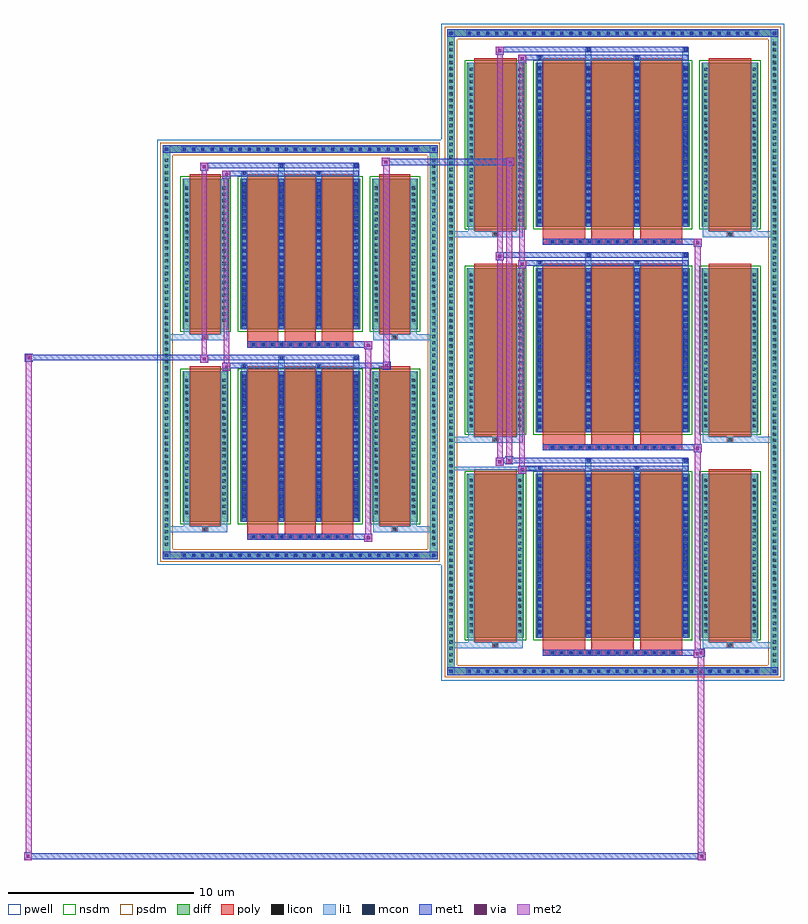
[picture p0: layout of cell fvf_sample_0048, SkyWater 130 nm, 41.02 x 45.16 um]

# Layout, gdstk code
import gdstk
lib = gdstk.Library(unit=1e-6, precision=1e-09)
def R(c, l, rs):  # rectangles x0, y0, x1, y1
    for r in rs: c.add(gdstk.rectangle(r[:2], r[2:], *l))
def A(c, l, x, y, w, h, nx, ny, dx, dy):  # array of equal rectangles
    R(c, l, [(x+i*dx, y+j*dy, x+i*dx+w, y+j*dy+h) for i in range(nx) for j in range(ny)])
def P(c, l, *ps):  # polygons
    for p in ps: c.add(gdstk.Polygon(p, *l))
pwell = (64, 44)
diff = (65, 20)
poly = (66, 20)
licon = (66, 44)
li1 = (67, 20)
mcon = (67, 44)
met1 = (68, 20)
via = (68, 44)
met2 = (69, 20)
nsdm = (93, 44)
psdm = (94, 20)

fvf_sample_0048 = lib.new_cell('fvf_sample_0048')
R(fvf_sample_0048, pwell, [(7.625,-17.735,26.115,17.735), (-7.725,-11.477,7.725,11.477)])
A(fvf_sample_0048, diff, 8.915, -17.425, 0.41, 0.41, 32, 2, 0.5, 34.44)
A(fvf_sample_0048, diff, 7.935, -16.865, 0.41, 0.41, 1, 99, 0, 0.34)
A(fvf_sample_0048, diff, 25.395, -16.865, 0.41, 0.41, 1, 99, 0, 0.34)
A(fvf_sample_0048, diff, 9.005, -15.403, 3.07, 8.844, 1, 3, 0, 11.089)
A(fvf_sample_0048, diff, 12.715, -15.403, 8.31, 8.844, 1, 3, 0, 11.089)
A(fvf_sample_0048, diff, 21.665, -15.403, 3.07, 8.844, 1, 3, 0, 11.089)
A(fvf_sample_0048, diff, -6.455, -11.167, 0.41, 0.41, 26, 2, 0.5, 21.924)
A(fvf_sample_0048, diff, -7.415, -10.575, 0.41, 0.41, 1, 62, 0, 0.34)
A(fvf_sample_0048, diff, 7.005, -10.575, 0.41, 0.41, 1, 62, 0, 0.34)
R(fvf_sample_0048, diff, [(8.915,-17.425,24.825,-17.015), (7.935,-16.865,8.345,16.865), (25.395,-16.865,25.805,16.865), (-6.455,-11.167,6.455,-10.757), (-7.415,-10.575,-7.005,10.575), (7.005,-10.575,7.415,10.575), (-6.345,-9.146,-3.883,-1.014), (-3.243,-9.146,3.243,-1.014), (3.883,-9.146,6.345,-1.014), (-6.345,1.23,-3.883,9.362), (-3.243,1.23,3.243,9.362), (3.883,1.23,6.345,9.362), (-6.455,10.757,6.455,11.167), (8.915,17.015,24.825,17.425)])
P(fvf_sample_0048, diff, [(7.415,11.167),(-7.415,11.167),(-7.415,-10.757),(-7.005,-10.757),(-7.005,10.757),(7.005,10.757),(7.005,-10.757),(-7.005,-10.757),(-7.415,-10.757),(-7.415,-11.167),(7.415,-11.167)],
  [(25.805,17.425),(7.935,17.425),(7.935,-17.015),(8.345,-17.015),(8.345,17.015),(25.395,17.015),(25.395,-17.015),(8.345,-17.015),(7.935,-17.015),(7.935,-17.425),(25.805,-17.425)])
A(fvf_sample_0048, poly, 13.105, -16.383, 7.53, 0.33, 1, 3, 0, 11.089)
A(fvf_sample_0048, poly, 13.455, -16.383, 0.33, 0.33, 14, 3, 0.5, 11.089)
A(fvf_sample_0048, poly, 13.105, -16.053, 2.29, 0.4, 3, 3, 2.62, 11.089)
A(fvf_sample_0048, poly, 9.395, -15.653, 2.29, 9.344, 1, 3, 0, 11.089)
A(fvf_sample_0048, poly, 13.105, -15.653, 2.29, 9.344, 3, 3, 2.62, 11.089)
A(fvf_sample_0048, poly, 22.055, -15.653, 2.29, 9.344, 1, 3, 0, 11.089)
A(fvf_sample_0048, poly, -2.665, -10.126, 0.33, 0.33, 11, 2, 0.5, 10.376)
A(fvf_sample_0048, poly, -2.853, -9.796, 1.682, 0.4, 3, 2, 2.012, 10.376)
A(fvf_sample_0048, poly, -2.853, -9.396, 1.682, 8.632, 3, 2, 2.012, 10.376)
R(fvf_sample_0048, poly, [(10.375,-15.983,10.705,-15.653), (10.375,-15.983,10.705,-15.653), (23.035,-15.983,23.365,-15.653), (23.035,-15.983,23.365,-15.653), (-2.853,-10.126,2.853,-9.796), (-5.279,-9.726,-4.949,-9.396), (-5.279,-9.726,-4.949,-9.396), (4.949,-9.726,5.279,-9.396), (4.949,-9.726,5.279,-9.396), (-5.955,-9.396,-4.273,-0.764), (4.273,-9.396,5.955,-0.764), (10.375,-4.894,10.705,-4.564), (10.375,-4.894,10.705,-4.564), (23.035,-4.894,23.365,-4.564), (23.035,-4.894,23.365,-4.564), (-2.853,0.25,2.853,0.58), (-5.279,0.65,-4.949,0.98), (-5.279,0.65,-4.949,0.98), (4.949,0.65,5.279,0.98), (4.949,0.65,5.279,0.98), (-5.955,0.98,-4.273,9.612), (4.273,0.98,5.955,9.612), (10.375,6.195,10.705,6.525), (10.375,6.195,10.705,6.525), (23.035,6.195,23.365,6.525), (23.035,6.195,23.365,6.525)])
A(fvf_sample_0048, licon, 9.035, -17.305, 0.17, 0.17, 32, 2, 0.5, 34.44)
A(fvf_sample_0048, licon, 8.055, -16.745, 0.17, 0.17, 1, 99, 0, 0.34)
A(fvf_sample_0048, licon, 25.515, -16.745, 0.17, 0.17, 1, 99, 0, 0.34)
A(fvf_sample_0048, licon, 13.535, -16.303, 0.17, 0.17, 14, 3, 0.5, 11.089)
A(fvf_sample_0048, licon, 10.455, -15.903, 0.17, 0.17, 1, 3, 0, 11.089)
A(fvf_sample_0048, licon, 23.115, -15.903, 0.17, 0.17, 1, 3, 0, 11.089)
A(fvf_sample_0048, licon, 9.145, -15.146, 0.17, 0.17, 1, 25, 0, 0.34)
A(fvf_sample_0048, licon, 11.765, -15.146, 0.17, 0.17, 1, 25, 0, 0.34)
A(fvf_sample_0048, licon, 12.855, -15.146, 0.17, 0.17, 4, 25, 2.62, 0.34)
A(fvf_sample_0048, licon, 21.805, -15.146, 0.17, 0.17, 1, 25, 0, 0.34)
A(fvf_sample_0048, licon, 24.425, -15.146, 0.17, 0.17, 1, 25, 0, 0.34)
A(fvf_sample_0048, licon, -6.335, -11.047, 0.17, 0.17, 26, 2, 0.5, 21.924)
A(fvf_sample_0048, licon, -7.295, -10.455, 0.17, 0.17, 1, 62, 0, 0.34)
A(fvf_sample_0048, licon, 7.125, -10.455, 0.17, 0.17, 1, 62, 0, 0.34)
A(fvf_sample_0048, licon, -2.585, -10.046, 0.17, 0.17, 11, 2, 0.5, 10.376)
A(fvf_sample_0048, licon, -6.205, -8.735, 0.17, 0.17, 1, 22, 0, 0.34)
A(fvf_sample_0048, licon, -4.193, -8.735, 0.17, 0.17, 1, 22, 0, 0.34)
A(fvf_sample_0048, licon, -3.103, -8.735, 0.17, 0.17, 4, 22, 2.012, 0.34)
A(fvf_sample_0048, licon, 4.023, -8.735, 0.17, 0.17, 1, 22, 0, 0.34)
A(fvf_sample_0048, licon, 6.035, -8.735, 0.17, 0.17, 1, 22, 0, 0.34)
A(fvf_sample_0048, licon, 9.145, -4.057, 0.17, 0.17, 1, 25, 0, 0.34)
A(fvf_sample_0048, licon, 11.765, -4.057, 0.17, 0.17, 1, 25, 0, 0.34)
A(fvf_sample_0048, licon, 12.855, -4.057, 0.17, 0.17, 4, 25, 2.62, 0.34)
A(fvf_sample_0048, licon, 21.805, -4.057, 0.17, 0.17, 1, 25, 0, 0.34)
A(fvf_sample_0048, licon, 24.425, -4.057, 0.17, 0.17, 1, 25, 0, 0.34)
A(fvf_sample_0048, licon, -6.205, 1.641, 0.17, 0.17, 1, 22, 0, 0.34)
A(fvf_sample_0048, licon, -4.193, 1.641, 0.17, 0.17, 1, 22, 0, 0.34)
A(fvf_sample_0048, licon, -3.103, 1.641, 0.17, 0.17, 4, 22, 2.012, 0.34)
A(fvf_sample_0048, licon, 4.023, 1.641, 0.17, 0.17, 1, 22, 0, 0.34)
A(fvf_sample_0048, licon, 6.035, 1.641, 0.17, 0.17, 1, 22, 0, 0.34)
A(fvf_sample_0048, licon, 9.145, 7.032, 0.17, 0.17, 1, 25, 0, 0.34)
A(fvf_sample_0048, licon, 11.765, 7.032, 0.17, 0.17, 1, 25, 0, 0.34)
A(fvf_sample_0048, licon, 12.855, 7.032, 0.17, 0.17, 4, 25, 2.62, 0.34)
A(fvf_sample_0048, licon, 21.805, 7.032, 0.17, 0.17, 1, 25, 0, 0.34)
A(fvf_sample_0048, licon, 24.425, 7.032, 0.17, 0.17, 1, 25, 0, 0.34)
R(fvf_sample_0048, licon, [(-5.199,-9.646,-5.029,-9.476), (5.029,-9.646,5.199,-9.476), (-5.199,0.73,-5.029,0.9), (5.029,0.73,5.199,0.9)])
A(fvf_sample_0048, li1, 8.955, -17.385, 0.33, 0.33, 32, 2, 0.5, 34.44)
A(fvf_sample_0048, li1, 7.975, -16.825, 0.33, 0.33, 1, 99, 0, 0.34)
A(fvf_sample_0048, li1, 25.435, -16.825, 0.33, 0.33, 1, 99, 0, 0.34)
A(fvf_sample_0048, li1, 13.455, -16.383, 0.33, 0.33, 14, 3, 0.5, 11.089)
A(fvf_sample_0048, li1, 7.935, -15.983, 2.44, 0.33, 1, 3, 0, 11.089)
A(fvf_sample_0048, li1, 9.065, -15.983, 0.33, 0.58, 1, 3, 0, 11.089)
A(fvf_sample_0048, li1, 9.065, -15.983, 1.31, 0.33, 1, 3, 0, 11.089)
A(fvf_sample_0048, li1, 10.375, -15.983, 0.33, 0.33, 1, 3, 0, 11.089)
A(fvf_sample_0048, li1, 10.705, -15.983, 1.31, 0.33, 1, 3, 0, 11.089)
A(fvf_sample_0048, li1, 11.685, -15.983, 0.33, 0.58, 1, 3, 0, 11.089)
A(fvf_sample_0048, li1, 21.725, -15.983, 0.33, 0.58, 1, 3, 0, 11.089)
A(fvf_sample_0048, li1, 21.725, -15.983, 1.31, 0.33, 1, 3, 0, 11.089)
A(fvf_sample_0048, li1, 23.035, -15.983, 0.33, 0.33, 1, 3, 0, 11.089)
A(fvf_sample_0048, li1, 23.035, -15.983, 2.77, 0.33, 1, 3, 0, 11.089)
A(fvf_sample_0048, li1, 23.365, -15.983, 1.31, 0.33, 1, 3, 0, 11.089)
A(fvf_sample_0048, li1, 24.345, -15.983, 0.33, 0.58, 1, 3, 0, 11.089)
A(fvf_sample_0048, li1, 9.065, -15.403, 0.33, 8.844, 1, 3, 0, 11.089)
A(fvf_sample_0048, li1, 11.685, -15.403, 0.33, 8.844, 1, 3, 0, 11.089)
A(fvf_sample_0048, li1, 12.775, -15.403, 0.33, 8.844, 4, 3, 2.62, 11.089)
A(fvf_sample_0048, li1, 21.725, -15.403, 0.33, 8.844, 1, 3, 0, 11.089)
A(fvf_sample_0048, li1, 24.345, -15.403, 0.33, 8.844, 1, 3, 0, 11.089)
A(fvf_sample_0048, li1, 9.065, -15.226, 0.33, 0.33, 1, 25, 0, 0.34)
A(fvf_sample_0048, li1, 11.685, -15.226, 0.33, 0.33, 1, 25, 0, 0.34)
A(fvf_sample_0048, li1, 12.775, -15.226, 0.33, 0.33, 4, 25, 2.62, 0.34)
A(fvf_sample_0048, li1, 21.725, -15.226, 0.33, 0.33, 1, 25, 0, 0.34)
A(fvf_sample_0048, li1, 24.345, -15.226, 0.33, 0.33, 1, 25, 0, 0.34)
A(fvf_sample_0048, li1, 12.855, -15.206, 0.17, 0.17, 4, 24, 2.62, 0.36)
A(fvf_sample_0048, li1, 12.855, -15.206, 0.17, 8.45, 4, 3, 2.62, 11.089)
A(fvf_sample_0048, li1, -6.415, -11.127, 0.33, 0.33, 26, 2, 0.5, 21.924)
A(fvf_sample_0048, li1, -7.375, -10.535, 0.33, 0.33, 1, 62, 0, 0.34)
A(fvf_sample_0048, li1, 7.045, -10.535, 0.33, 0.33, 1, 62, 0, 0.34)
A(fvf_sample_0048, li1, -2.665, -10.126, 0.33, 0.33, 11, 2, 0.5, 10.376)
A(fvf_sample_0048, li1, -3.183, -9.146, 0.33, 8.132, 4, 2, 2.012, 10.376)
A(fvf_sample_0048, li1, -3.103, -8.945, 0.17, 0.17, 4, 22, 2.012, 0.36)
A(fvf_sample_0048, li1, -3.103, -8.945, 0.17, 7.73, 4, 2, 2.012, 10.376)
A(fvf_sample_0048, li1, -6.285, -8.815, 0.33, 0.33, 1, 22, 0, 0.34)
A(fvf_sample_0048, li1, -4.273, -8.815, 0.33, 0.33, 1, 22, 0, 0.34)
A(fvf_sample_0048, li1, -3.183, -8.815, 0.33, 0.33, 4, 22, 2.012, 0.34)
A(fvf_sample_0048, li1, 3.943, -8.815, 0.33, 0.33, 1, 22, 0, 0.34)
A(fvf_sample_0048, li1, 5.955, -8.815, 0.33, 0.33, 1, 22, 0, 0.34)
A(fvf_sample_0048, li1, 12.775, -6.559, 0.33, 0.375, 1, 3, 0, 11.089)
A(fvf_sample_0048, li1, 15.395, -6.559, 0.33, 0.805, 1, 3, 0, 11.089)
A(fvf_sample_0048, li1, 18.015, -6.559, 0.33, 0.375, 1, 3, 0, 11.089)
A(fvf_sample_0048, li1, 20.635, -6.559, 0.33, 0.805, 1, 3, 0, 11.089)
A(fvf_sample_0048, li1, 12.855, -6.354, 0.17, 0.17, 1, 3, 0, 11.089)
A(fvf_sample_0048, li1, 18.095, -6.354, 0.17, 0.17, 1, 3, 0, 11.089)
A(fvf_sample_0048, li1, 15.475, -5.924, 0.17, 0.17, 1, 3, 0, 11.089)
A(fvf_sample_0048, li1, 20.715, -5.924, 0.17, 0.17, 1, 3, 0, 11.089)
A(fvf_sample_0048, li1, 9.065, -4.137, 0.33, 0.33, 1, 25, 0, 0.34)
A(fvf_sample_0048, li1, 11.685, -4.137, 0.33, 0.33, 1, 25, 0, 0.34)
A(fvf_sample_0048, li1, 12.775, -4.137, 0.33, 0.33, 4, 25, 2.62, 0.34)
A(fvf_sample_0048, li1, 21.725, -4.137, 0.33, 0.33, 1, 25, 0, 0.34)
A(fvf_sample_0048, li1, 24.345, -4.137, 0.33, 0.33, 1, 25, 0, 0.34)
A(fvf_sample_0048, li1, 12.855, -4.117, 0.17, 0.17, 4, 24, 2.62, 0.36)
A(fvf_sample_0048, li1, -3.103, 1.431, 0.17, 0.17, 4, 22, 2.012, 0.36)
A(fvf_sample_0048, li1, -6.285, 1.561, 0.33, 0.33, 1, 22, 0, 0.34)
A(fvf_sample_0048, li1, -4.273, 1.561, 0.33, 0.33, 1, 22, 0, 0.34)
A(fvf_sample_0048, li1, -3.183, 1.561, 0.33, 0.33, 4, 22, 2.012, 0.34)
A(fvf_sample_0048, li1, 3.943, 1.561, 0.33, 0.33, 1, 22, 0, 0.34)
A(fvf_sample_0048, li1, 5.955, 1.561, 0.33, 0.33, 1, 22, 0, 0.34)
A(fvf_sample_0048, li1, 9.065, 6.952, 0.33, 0.33, 1, 25, 0, 0.34)
A(fvf_sample_0048, li1, 11.685, 6.952, 0.33, 0.33, 1, 25, 0, 0.34)
A(fvf_sample_0048, li1, 12.775, 6.952, 0.33, 0.33, 4, 25, 2.62, 0.34)
A(fvf_sample_0048, li1, 21.725, 6.952, 0.33, 0.33, 1, 25, 0, 0.34)
A(fvf_sample_0048, li1, 24.345, 6.952, 0.33, 0.33, 1, 25, 0, 0.34)
A(fvf_sample_0048, li1, 12.855, 6.972, 0.17, 0.17, 4, 24, 2.62, 0.36)
R(fvf_sample_0048, li1, [(7.935,-17.425,8.345,-17.015), (25.395,-17.425,25.805,-17.015), (8.955,-17.385,24.785,-17.055), (8.055,-17.305,8.225,-17.135), (8.055,-17.305,8.225,-17.135), (25.515,-17.305,25.685,-17.135), (25.515,-17.305,25.685,-17.135), (7.935,-17.015,8.345,17.015), (25.395,-17.015,25.805,17.015), (-7.415,-11.167,-7.005,-10.757), (7.005,-11.167,7.415,-10.757), (-6.415,-11.127,6.415,-10.797), (-7.295,-11.047,-7.125,-10.877), (-7.295,-11.047,-7.125,-10.877), (7.125,-11.047,7.295,-10.877), (7.125,-11.047,7.295,-10.877), (-7.415,-10.757,-7.005,10.757), (7.005,-10.757,7.415,10.757), (-7.415,-9.726,-5.279,-9.396), (-6.285,-9.726,-5.279,-9.396), (-6.285,-9.726,-5.955,-9.146), (-5.279,-9.726,-4.949,-9.396), (-4.949,-9.726,-3.943,-9.396), (-4.273,-9.726,-3.943,-9.146), (3.943,-9.726,4.949,-9.396), (3.943,-9.726,4.273,-9.146), (4.949,-9.726,5.279,-9.396), (4.949,-9.726,7.415,-9.396), (5.279,-9.726,6.285,-9.396), (5.955,-9.726,6.285,-9.146), (-6.285,-9.146,-5.955,-1.014), (-4.273,-9.146,-3.943,-1.014), (3.943,-9.146,4.273,-1.014), (5.955,-9.146,6.285,-1.014), (12.795,-6.414,13.085,-6.124), (7.935,-6.369,12.795,-6.169), (12.855,-6.354,13.025,-6.184), (-3.183,-1.014,-2.853,-0.639), (-1.171,-1.014,-0.841,-0.209), (0.841,-1.014,1.171,-0.639), (2.853,-1.014,3.183,-0.209), (-3.103,-0.809,-2.933,-0.639), (0.921,-0.809,1.091,-0.639), (-1.091,-0.379,-0.921,-0.209), (2.933,-0.379,3.103,-0.209), (-7.415,0.65,-5.279,0.98), (-6.285,0.65,-5.279,0.98), (-6.285,0.65,-5.955,1.23), (-5.279,0.65,-4.949,0.98), (-4.949,0.65,-3.943,0.98), (-4.273,0.65,-3.943,1.23), (3.943,0.65,4.949,0.98), (3.943,0.65,4.273,1.23), (4.949,0.65,5.279,0.98), (4.949,0.65,7.415,0.98), (5.279,0.65,6.285,0.98), (5.955,0.65,6.285,1.23), (-6.285,1.23,-5.955,9.362), (-4.273,1.23,-3.943,9.362), (3.943,1.23,4.273,9.362), (5.955,1.23,6.285,9.362), (-3.183,9.362,-2.853,9.737), (-1.171,9.362,-0.841,10.167), (0.841,9.362,1.171,9.737), (2.853,9.362,3.183,10.167), (-3.103,9.567,-2.933,9.737), (0.921,9.567,1.091,9.737), (-1.091,9.997,-0.921,10.167), (2.933,9.997,3.103,10.167), (-7.415,10.757,-7.005,11.167), (7.005,10.757,7.415,11.167), (-6.415,10.797,6.415,11.127), (-7.295,10.877,-7.125,11.047), (-7.295,10.877,-7.125,11.047), (7.125,10.877,7.295,11.047), (7.125,10.877,7.295,11.047), (7.935,17.015,8.345,17.425), (25.395,17.015,25.805,17.425), (8.955,17.055,24.785,17.385), (8.055,17.135,8.225,17.305), (8.055,17.135,8.225,17.305), (25.515,17.135,25.685,17.305), (25.515,17.135,25.685,17.305)])
A(fvf_sample_0048, mcon, 9.035, -17.305, 0.17, 0.17, 32, 2, 0.5, 34.44)
A(fvf_sample_0048, mcon, 13.535, -16.303, 0.17, 0.17, 14, 3, 0.5, 11.089)
A(fvf_sample_0048, mcon, 12.855, -15.206, 0.17, 0.17, 4, 24, 2.62, 0.36)
A(fvf_sample_0048, mcon, -6.335, -11.047, 0.17, 0.17, 26, 2, 0.5, 21.924)
A(fvf_sample_0048, mcon, -2.585, -10.046, 0.17, 0.17, 11, 2, 0.5, 10.376)
A(fvf_sample_0048, mcon, -3.103, -8.945, 0.17, 0.17, 4, 22, 2.012, 0.36)
A(fvf_sample_0048, mcon, 12.855, -6.354, 0.17, 0.17, 1, 3, 0, 11.089)
A(fvf_sample_0048, mcon, 18.095, -6.354, 0.17, 0.17, 1, 3, 0, 11.089)
A(fvf_sample_0048, mcon, 15.475, -5.924, 0.17, 0.17, 1, 3, 0, 11.089)
A(fvf_sample_0048, mcon, 20.715, -5.924, 0.17, 0.17, 1, 3, 0, 11.089)
A(fvf_sample_0048, mcon, 12.855, -4.117, 0.17, 0.17, 4, 24, 2.62, 0.36)
A(fvf_sample_0048, mcon, -3.103, 1.431, 0.17, 0.17, 4, 22, 2.012, 0.36)
A(fvf_sample_0048, mcon, 12.855, 6.972, 0.17, 0.17, 4, 24, 2.62, 0.36)
R(fvf_sample_0048, mcon, [(8.055,-17.305,8.225,-17.135), (25.515,-17.305,25.685,-17.135), (-7.295,-11.047,-7.125,-10.877), (7.125,-11.047,7.295,-10.877), (12.855,-6.354,13.025,-6.184), (-3.103,-0.809,-2.933,-0.639), (0.921,-0.809,1.091,-0.639), (-1.091,-0.379,-0.921,-0.209), (2.933,-0.379,3.103,-0.209), (-3.103,9.567,-2.933,9.737), (0.921,9.567,1.091,9.737), (-1.091,9.997,-0.921,10.167), (2.933,9.997,3.103,10.167), (-7.295,10.877,-7.125,11.047), (7.125,10.877,7.295,11.047), (8.055,17.135,8.225,17.305), (25.515,17.135,25.685,17.305)])
A(fvf_sample_0048, met1, 8.975, -17.365, 0.29, 0.29, 32, 2, 0.5, 34.44)
A(fvf_sample_0048, met1, 13.105, -16.383, 7.53, 0.33, 1, 3, 0, 11.089)
A(fvf_sample_0048, met1, 13.475, -16.363, 0.29, 0.29, 14, 3, 0.5, 11.089)
A(fvf_sample_0048, met1, 12.795, -15.403, 0.29, 8.844, 4, 3, 2.62, 11.089)
A(fvf_sample_0048, met1, 12.795, -15.266, 0.29, 0.29, 4, 24, 2.62, 0.36)
A(fvf_sample_0048, met1, -6.395, -11.107, 0.29, 0.29, 26, 2, 0.5, 21.924)
A(fvf_sample_0048, met1, -2.645, -10.106, 0.29, 0.29, 11, 2, 0.5, 10.376)
A(fvf_sample_0048, met1, -3.163, -9.146, 0.29, 8.132, 4, 2, 2.012, 10.376)
A(fvf_sample_0048, met1, -3.163, -9.005, 0.29, 0.29, 4, 22, 2.012, 0.36)
A(fvf_sample_0048, met1, 12.795, -6.414, 0.29, 0.29, 1, 3, 0, 11.089)
A(fvf_sample_0048, met1, 18.035, -6.414, 0.29, 0.29, 1, 3, 0, 11.089)
A(fvf_sample_0048, met1, 15.415, -5.984, 0.29, 0.29, 1, 3, 0, 11.089)
A(fvf_sample_0048, met1, 20.655, -5.984, 0.29, 0.29, 1, 3, 0, 11.089)
A(fvf_sample_0048, met1, 12.795, -4.177, 0.29, 0.29, 4, 24, 2.62, 0.36)
A(fvf_sample_0048, met1, -3.163, 1.371, 0.29, 0.29, 4, 22, 2.012, 0.36)
A(fvf_sample_0048, met1, 12.795, 6.912, 0.29, 0.29, 4, 24, 2.62, 0.36)
R(fvf_sample_0048, met1, [(-14.905,-27.426,-14.475,-26.996), (21.47,-27.426,21.9,-26.996), (-14.905,-27.376,21.9,-27.046), (-14.905,-27.046,-14.475,-26.996), (21.47,-27.046,21.9,-26.996), (7.935,-17.425,8.345,-17.015), (7.935,-17.425,8.345,-17.015), (8.345,-17.425,25.395,-17.015), (25.395,-17.425,25.805,-17.015), (25.395,-17.425,25.805,-17.015), (7.995,-17.365,8.285,-17.075), (25.455,-17.365,25.745,-17.075), (21.235,-16.483,21.665,-16.053), (21.42,-16.433,21.85,-16.003), (20.635,-16.383,21.665,-16.053), (20.635,-16.383,21.42,-16.053), (-7.415,-11.167,-7.005,-10.757), (-7.415,-11.167,-7.005,-10.757), (-7.005,-11.167,7.005,-10.757), (7.005,-11.167,7.415,-10.757), (7.005,-11.167,7.415,-10.757), (-7.355,-11.107,-7.065,-10.817), (7.065,-11.107,7.355,-10.817), (3.453,-10.226,3.883,-9.796), (-2.853,-10.126,2.853,-9.796), (2.853,-10.126,3.883,-9.796), (11.765,-6.554,12.195,-6.124), (11.765,-6.414,12.795,-6.124), (12.795,-6.414,13.085,-6.124), (12.795,-6.414,20.945,-6.124), (10.565,-6.124,10.995,-5.694), (11.08,-6.054,11.51,-5.624), (10.565,-5.984,12.795,-5.694), (11.51,-5.984,12.795,-5.694), (12.795,-5.984,20.945,-5.694), (21.235,-5.394,21.665,-4.964), (21.235,-5.394,21.665,-4.964), (20.635,-5.294,21.665,-4.964), (20.635,-5.294,21.665,-4.964), (-4.193,-1.009,-3.763,-0.579), (4.448,-0.939,4.878,-0.509), (-4.193,-0.869,-3.163,-0.579), (-3.163,-0.869,-2.873,-0.579), (-3.163,-0.869,3.163,-0.579), (0.861,-0.869,1.151,-0.579), (3.163,-0.869,4.448,-0.579), (-5.393,-0.579,-4.963,-0.149), (-14.855,-0.509,-14.425,-0.079), (-14.425,-0.439,-3.163,-0.149), (-5.393,-0.439,-3.163,-0.149), (-3.163,-0.439,3.163,-0.149), (-1.151,-0.439,-0.861,-0.149), (2.873,-0.439,3.163,-0.149), (3.453,0.15,3.883,0.58), (-2.853,0.25,2.853,0.58), (2.853,0.25,3.883,0.58), (11.765,4.535,12.195,4.965), (11.765,4.535,12.195,4.965), (11.765,4.675,12.795,4.965), (11.765,4.675,12.795,4.965), (12.795,4.675,20.945,4.965), (10.565,4.965,10.995,5.395), (10.565,4.965,10.995,5.395), (10.565,5.105,12.795,5.395), (10.565,5.105,12.795,5.395), (12.795,5.105,20.945,5.395), (21.235,5.695,21.665,6.125), (20.635,5.795,21.665,6.125), (-4.193,9.367,-3.763,9.797), (-4.193,9.507,-3.163,9.797), (-3.163,9.507,-2.873,9.797), (-3.163,9.507,3.163,9.797), (0.861,9.507,1.151,9.797), (-5.393,9.797,-4.963,10.227), (-5.393,9.937,-3.163,10.227), (-3.163,9.937,3.163,10.227), (-1.151,9.937,-0.861,10.227), (2.873,9.937,3.163,10.227), (4.398,10.054,4.828,10.484), (11.13,10.054,11.56,10.484), (4.398,10.104,11.56,10.434), (4.398,10.434,4.828,10.484), (11.13,10.434,11.56,10.484), (-7.415,10.757,-7.005,11.167), (-7.415,10.757,-7.005,11.167), (-7.005,10.757,7.005,11.167), (7.005,10.757,7.415,11.167), (7.005,10.757,7.415,11.167), (-7.355,10.817,-7.065,11.107), (7.065,10.817,7.355,11.107), (11.765,15.624,12.195,16.054), (11.765,15.764,12.795,16.054), (12.795,15.764,20.945,16.054), (10.565,16.054,10.995,16.484), (10.565,16.194,12.795,16.484), (12.795,16.194,20.945,16.484), (7.935,17.015,8.345,17.425), (7.935,17.015,8.345,17.425), (8.345,17.015,25.395,17.425), (25.395,17.015,25.805,17.425), (25.395,17.015,25.805,17.425), (7.995,17.075,8.285,17.365), (25.455,17.075,25.745,17.365)])
R(fvf_sample_0048, via, [(-14.765,-27.286,-14.615,-27.136), (21.61,-27.286,21.76,-27.136), (21.375,-16.343,21.525,-16.193), (21.56,-16.293,21.71,-16.143), (3.593,-10.086,3.743,-9.936), (11.905,-6.414,12.055,-6.264), (10.705,-5.984,10.855,-5.834), (11.22,-5.914,11.37,-5.764), (21.375,-5.254,21.525,-5.104), (21.375,-5.254,21.525,-5.104), (-4.053,-0.869,-3.903,-0.719), (4.588,-0.799,4.738,-0.649), (-5.253,-0.439,-5.103,-0.289), (-14.715,-0.369,-14.565,-0.219), (3.593,0.29,3.743,0.44), (11.905,4.675,12.055,4.825), (11.905,4.675,12.055,4.825), (10.705,5.105,10.855,5.255), (10.705,5.105,10.855,5.255), (21.375,5.835,21.525,5.985), (-4.053,9.507,-3.903,9.657), (-5.253,9.937,-5.103,10.087), (4.538,10.194,4.688,10.344), (11.27,10.194,11.42,10.344), (11.905,15.764,12.055,15.914), (10.705,16.194,10.855,16.344)])
R(fvf_sample_0048, met2, [(-14.905,-27.426,-14.475,-26.996), (-14.805,-27.426,-14.475,-0.459), (21.47,-27.426,21.9,-26.996), (21.47,-27.426,21.8,-16.383), (-14.855,-27.376,-14.525,-27.046), (21.52,-27.376,21.85,-27.046), (21.235,-16.483,21.665,-16.053), (21.285,-16.483,21.615,-4.964), (21.615,-16.483,21.665,-16.053), (21.285,-16.433,21.615,-16.103), (21.47,-16.383,21.8,-16.053), (3.453,-10.226,3.883,-9.796), (3.503,-10.226,3.833,0.58), (3.833,-10.226,3.883,-9.796), (3.503,-10.176,3.833,-9.846), (11.765,-6.554,12.195,-6.124), (11.835,-6.554,12.125,4.965), (12.125,-6.554,12.195,-6.124), (11.815,-6.504,12.145,-6.174), (10.565,-6.124,10.995,-5.694), (10.635,-6.124,10.925,5.395), (10.925,-6.124,10.995,-5.694), (10.615,-6.074,10.945,-5.744), (11.13,-6.004,11.46,-5.674), (11.13,-5.674,11.46,10.484), (21.235,-5.394,21.665,-4.964), (21.235,-5.394,21.665,-4.964), (21.285,-5.394,21.615,6.125), (21.615,-5.394,21.665,-4.964), (21.615,-5.394,21.665,-4.964), (21.285,-5.344,21.615,-5.014), (21.285,-5.344,21.615,-5.014), (-4.193,-1.009,-3.763,-0.579), (-4.123,-1.009,-3.833,9.797), (-3.833,-1.009,-3.763,-0.579), (-4.143,-0.959,-3.813,-0.629), (4.498,-0.889,4.828,-0.559), (-5.393,-0.579,-4.963,-0.149), (-5.323,-0.579,-5.033,10.227), (-5.033,-0.579,-4.963,-0.149), (4.498,-0.559,4.828,10.484), (-5.343,-0.529,-5.013,-0.199), (-14.805,-0.459,-14.475,-0.129), (3.453,0.15,3.883,0.58), (3.833,0.15,3.883,0.58), (3.503,0.2,3.833,0.53), (11.765,4.535,12.195,4.965), (11.765,4.535,12.195,4.965), (11.835,4.535,12.125,16.054), (12.125,4.535,12.195,4.965), (12.125,4.535,12.195,4.965), (11.815,4.585,12.145,4.915), (11.815,4.585,12.145,4.915), (10.565,4.965,10.995,5.395), (10.565,4.965,10.995,5.395), (10.635,4.965,10.925,16.484), (10.925,4.965,10.995,5.395), (10.925,4.965,10.995,5.395), (10.615,5.015,10.945,5.345), (10.615,5.015,10.945,5.345), (21.235,5.695,21.665,6.125), (21.615,5.695,21.665,6.125), (21.285,5.745,21.615,6.075), (-4.193,9.367,-3.763,9.797), (-3.833,9.367,-3.763,9.797), (-4.143,9.417,-3.813,9.747), (-5.393,9.797,-4.963,10.227), (-5.033,9.797,-4.963,10.227), (-5.343,9.847,-5.013,10.177), (4.398,10.054,4.828,10.484), (11.13,10.054,11.56,10.484), (4.448,10.104,4.778,10.434), (11.18,10.104,11.51,10.434), (11.765,15.624,12.195,16.054), (12.125,15.624,12.195,16.054), (11.815,15.674,12.145,16.004), (10.565,16.054,10.995,16.484), (10.925,16.054,10.995,16.484), (10.615,16.104,10.945,16.434)])
A(fvf_sample_0048, nsdm, 8.875, -15.533, 3.33, 9.104, 1, 3, 0, 11.089)
A(fvf_sample_0048, nsdm, 12.585, -15.533, 8.57, 9.104, 1, 3, 0, 11.089)
A(fvf_sample_0048, nsdm, 21.535, -15.533, 3.33, 9.104, 1, 3, 0, 11.089)
R(fvf_sample_0048, nsdm, [(-6.475,-9.276,-3.753,-0.884), (-3.373,-9.276,3.373,-0.884), (3.753,-9.276,6.475,-0.884), (-6.475,1.1,-3.753,9.492), (-3.373,1.1,3.373,9.492), (3.753,1.1,6.475,9.492)])
P(fvf_sample_0048, psdm, [(7.545,11.297),(-7.545,11.297),(-7.545,-10.627),(-6.875,-10.627),(-6.875,10.627),(6.875,10.627),(6.875,-10.627),(-6.875,-10.627),(-7.545,-10.627),(-7.545,-11.297),(7.545,-11.297)],
  [(25.935,17.555),(7.805,17.555),(7.805,-16.885),(8.475,-16.885),(8.475,16.885),(25.265,16.885),(25.265,-16.885),(8.475,-16.885),(7.805,-16.885),(7.805,-17.555),(25.935,-17.555)])

lib.write_gds('fvf_sample_0048.gds')
